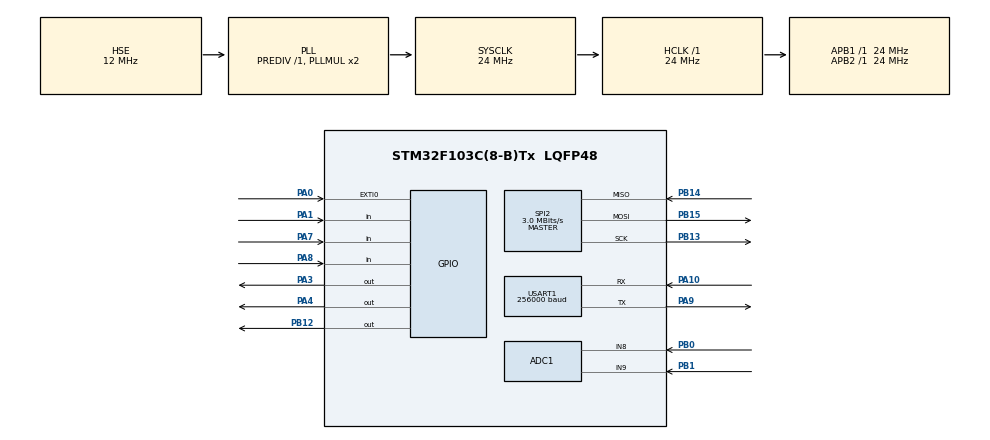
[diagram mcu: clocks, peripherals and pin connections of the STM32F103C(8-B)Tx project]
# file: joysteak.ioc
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ADC1.Channel-0\#ChannelRegularConversion=ADC_CHANNEL_8
ADC1.Channel-1\#ChannelRegularConversion=ADC_CHANNEL_9
ADC1.ContinuousConvMode=DISABLE
ADC1.NbrOfConversion=2
ADC1.NbrOfConversionFlag=1
ADC1.Rank-0\#ChannelRegularConversion=1
ADC1.Rank-1\#ChannelRegularConversion=2
ADC1.SamplingTime-0\#ChannelRegularConversion=ADC_SAMPLETIME_28CYCLES_5
ADC1.SamplingTime-1\#ChannelRegularConversion=ADC_SAMPLETIME_28CYCLES_5
ADC1.master=1
Dma.ADC1.0.Direction=DMA_PERIPH_TO_MEMORY
Dma.ADC1.0.Instance=DMA1_Channel1
Dma.ADC1.0.MemDataAlignment=DMA_MDATAALIGN_WORD
Dma.ADC1.0.MemInc=DMA_MINC_ENABLE
Dma.ADC1.0.Mode=DMA_CIRCULAR
Dma.ADC1.0.PeriphDataAlignment=DMA_PDATAALIGN_WORD
Dma.ADC1.0.PeriphInc=DMA_PINC_DISABLE
Dma.ADC1.0.Priority=DMA_PRIORITY_MEDIUM
Dma.Request0=ADC1
Mcu.Family=STM32F1
Mcu.Name=STM32F103C(8-B)Tx
Mcu.Package=LQFP48
NVIC.ADC1_2_IRQn=true\:2\:0\:true\:false\:true\:true\:true
NVIC.DMA1_Channel1_IRQn=true\:0\:0\:false\:false\:true\:false\:true
NVIC.EXTI0_IRQn=true\:1\:0\:true\:false\:true\:true\:true
NVIC.PriorityGroup=NVIC_PRIORITYGROUP_4
NVIC.SPI2_IRQn=true\:3\:0\:true\:false\:true\:true\:true
NVIC.USART1_IRQn=true\:3\:0\:true\:false\:true\:true\:true
PA0-WKUP.Signal=GPXTI0
PA1.Signal=GPIO_Input
PA10.Mode=Asynchronous
PA10.Signal=USART1_RX
PA13.Mode=Serial_Wire
PA13.Signal=SYS_JTMS-SWDIO
PA14.Mode=Serial_Wire
PA14.Signal=SYS_JTCK-SWCLK
PA3.Signal=GPIO_Output
PA4.Signal=GPIO_Output
PA7.Signal=GPIO_Input
PA8.Signal=GPIO_Input
PA9.Mode=Asynchronous
PA9.Signal=USART1_TX
PB0.Signal=ADCx_IN8
PB1.Signal=ADCx_IN9
PB12.Signal=GPIO_Output
PB13.Mode=Full_Duplex_Master
PB13.Signal=SPI2_SCK
PB14.Mode=Full_Duplex_Master
PB14.Signal=SPI2_MISO
PB15.Mode=Full_Duplex_Master
PB15.Signal=SPI2_MOSI
PD0-OSC_IN.Mode=HSE-External-Oscillator
PD0-OSC_IN.Signal=RCC_OSC_IN
PD1-OSC_OUT.Mode=HSE-External-Oscillator
PD1-OSC_OUT.Signal=RCC_OSC_OUT
ProjectManager.HeapSize=0x200
ProjectManager.StackSize=0x400
ProjectManager.TargetToolchain=MDK-ARM V5
RCC.AHBFreq_Value=24000000
RCC.APB1Freq_Value=24000000
RCC.APB1TimFreq_Value=24000000
RCC.APB2Freq_Value=24000000
RCC.APB2TimFreq_Value=24000000
RCC.HCLKFreq_Value=24000000
RCC.HSE_VALUE=12000000
RCC.PLLSourceVirtual=RCC_PLLSOURCE_HSE
RCC.SYSCLKFreq_VALUE=24000000
RCC.SYSCLKSource=RCC_SYSCLKSOURCE_PLLCLK
RCC.USBFreq_Value=24000000
SH.ADCx_IN8.0=ADC1_IN8,IN8
SH.ADCx_IN9.0=ADC1_IN9,IN9
SPI2.BaudRatePrescaler=SPI_BAUDRATEPRESCALER_8
SPI2.CalculateBaudRate=3.0 MBits/s
SPI2.Direction=SPI_DIRECTION_2LINES
SPI2.Mode=SPI_MODE_MASTER
SPI2.VirtualType=VM_MASTER
USART1.BaudRate=256000
USART1.VirtualMode=VM_ASYNC
board=custom

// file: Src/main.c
/* USER CODE BEGIN Header */
/**
  ******************************************************************************
  * @file           : main.c
  * @brief          : Main program body
  ******************************************************************************
  * @attention
  *
  * <h2><center>&copy; Copyright (c) 2019 STMicroelectronics.
  * All rights reserved.</center></h2>
  *
  * This software component is licensed by ST under BSD 3-Clause license,
  * the "License"; You may not use this file except in compliance with the
  * License. You may obtain a copy of the License at:
  *                        opensource.org/licenses/BSD-3-Clause
  *
  ******************************************************************************
  */
/* USER CODE END Header */

#include "main.h"

/* USER CODE BEGIN Includes */
#include <stdbool.h>
#include "nrf24.h"
#include "nrf24_hal.h"

/* USER CODE END Includes */

/* USER CODE BEGIN PTD */
#ifdef __GNUC__
/* With GCC/RAISONANCE, small printf (option LD Linker->Libraries->Small printf
   set to 'Yes') calls __io_putchar() */
#define PUTCHAR_PROTOTYPE int __io_putchar(int ch)
#else
#define PUTCHAR_PROTOTYPE int fputc(int ch, FILE *f)
#endif /* __GNUC__ */

uint8_t offFlag=0;
 uint8_t offFlag_2=0;
uint32_t curTime=0;

		uint16_t j=0;
uint32_t ADC_BUF[2];
uint8_t ADC_BUF_8b[10];
bool  AdcRequesStart=false;

uint8_t Ident[10]={1,0,0,0,0,0,0,0,0,0};
uint8_t cw=0;
	uint8_t monitoreFlag=0;
uint16_t count_packets=0;

uint16_t zero_point_X=0;
uint16_t zero_point_Y=0;
uint16_t data_0_200[2];

    static const uint8_t nRF24_ADDR0[] = { 0x01,0x01,0xE7, 0x1F, 0xE1};
		static const uint8_t nRF24_ADDR1[] = {  0x01,0x01,0xE7, 0x1F, 0xE2 };
		static const uint8_t nRF24_ADDR2[] = {  0x01,0x01,0xE7, 0x1F, 0xE3 };
		static const uint8_t nRF24_ADDR3[] = {  0x01,0x01,0xE7, 0x1F, 0xE4 };
		static const uint8_t nRF24_ADDR4[] = {  0x01,0x01,0xE7, 0x1F, 0xE5 };
		static const uint8_t nRF24_ADDR5[] = {  0x01,0x01,0xE7, 0x1F, 0xE6 };

#define  _MotorPwmDevider 20
#define  _MotorPwmPeriod 100
#define  _JoystickMax 4096
#define  _JoystickMin 0
#define  _JoystickZero 3020
#define  _JoystickUnderZero 2900
#define  _JoystickUpToZero 3100

/****************nrf****************/
uint8_t payload_length=10;
uint32_t i,k;
uint8_t nRF24_payload[10];
nRF24_RXResult pipe;
#define nRF24_WAIT_TIMEOUT         (uint32_t)0x000FFFFF

typedef enum {
	nRF24_TX_ERROR  = (uint8_t)0x00, // Unknown error
	nRF24_TX_SUCCESS,                // Packet has been transmitted successfully
	nRF24_TX_TIMEOUT,                // It was timeout during packet transmit
	nRF24_TX_MAXRT                   // Transmit failed with maximum auto retransmit count
} nRF24_TXResult;

nRF24_TXResult tx_res;

void JoyDataConvert(uint16_t X,uint16_t Y){

if(X<=zero_point_X-50 && X>0  ){
data_0_200[0]=(zero_point_X-X)/(zero_point_X/100)-1;
}
else if (X>zero_point_X+50){
data_0_200[0]=(X)/(zero_point_X/100);
}
else
if(!(X<=zero_point_X-50) && !(X>zero_point_X+50))
data_0_200[0]=0;
else if (X==0)
	data_0_200[0]=100;

if(Y<=zero_point_Y-50 && Y>0  ){
data_0_200[1]=(zero_point_Y-Y)/(zero_point_Y/100)-1;
}
else if (Y>zero_point_Y+50){
data_0_200[1]=(Y)/(zero_point_Y/100);
}
else
if(!(Y<=zero_point_Y-50) && !(Y>zero_point_Y+50))
data_0_200[1]=0;
else if (Y==0)
	data_0_200[1]=100;

if (data_0_200[0]>200)
data_0_200[0]=200;

if (data_0_200[1]>200)
data_0_200[1]=200;

}

nRF24_TXResult nRF24_TransmitPacket(uint8_t *pBuf, uint8_t length) {
	volatile uint32_t wait = nRF24_WAIT_TIMEOUT;
	uint8_t status;

	// Deassert the CE pin (in case if it still high)

	nRF24_CE_H();
	// Transfer a data from the specified buffer to the TX FIFO
	nRF24_WritePayload(pBuf, length);

	// Start a transmission by asserting CE pin (must be held at least 10us)

	//HAL_Delay(10);
	nRF24_CE_L();
	// Poll the transceiver status register until one of the following flags will be set:
	//   TX_DS  - means the packet has been transmitted
	//   MAX_RT - means the maximum number of TX retransmits happened
	// note: this solution is far from perfect, better to use IRQ instead of polling the status
	do {
		status = nRF24_GetStatus();
		if (status & (nRF24_FLAG_TX_DS | nRF24_FLAG_MAX_RT)) {
			break;
		}
	} while (wait--);

	// Deassert the CE pin (Standby-II --> Standby-I)
	//nRF24_CE_L();

	if (!wait) {
		// Timeout
		return nRF24_TX_TIMEOUT;
	}

	// Check the flags in STATUS register
	printf("[");
	printf("%d",status);
	printf("] ");

	// Clear pending IRQ flags
    nRF24_ClearIRQFlags();

	if (status & nRF24_FLAG_MAX_RT) {
		// Auto retransmit counter exceeds the programmed maximum limit (FIFO is not removed)
		return nRF24_TX_MAXRT;
	}

	if (status & nRF24_FLAG_TX_DS) {
		// Successful transmission
		return nRF24_TX_SUCCESS;
	}

	// Some banana happens, a payload remains in the TX FIFO, flush it
	nRF24_FlushTX();

	return nRF24_TX_ERROR;
}

/* USER CODE END PTD */

ADC_HandleTypeDef hadc1;
DMA_HandleTypeDef hdma_adc1;

SPI_HandleTypeDef hspi2;

UART_HandleTypeDef huart1;

void SystemClock_Config(void);
static void MX_GPIO_Init(void);
static void MX_DMA_Init(void);
static void MX_USART1_UART_Init(void);
static void MX_ADC1_Init(void);
static void MX_SPI2_Init(void);
/* USER CODE BEGIN PFP */
uint8_t SerialModule[4];

void HAL_ADC_ConvCpltCallback(ADC_HandleTypeDef* hadc){
uint32_t val[2];

	ADC_BUF_8b[0]=ADC_BUF[0]>>8;
	ADC_BUF_8b[1]=ADC_BUF[0];
	ADC_BUF_8b[2]=ADC_BUF[1]>>8;
	ADC_BUF_8b[3]=ADC_BUF[1];

}

PUTCHAR_PROTOTYPE
{
  /* Place your implementation of fputc here */
  /* e.g. write a character to the USART1 and Loop until the end of transmission */
  HAL_UART_Transmit(&huart1, (uint8_t *)&ch, 1, 0xFFFF);

  return ch;
}

/* USER CODE END PFP */

int main(void)
{
  /* USER CODE BEGIN 1 */

		volatile uint32_t *UniqueID = (uint32_t *)0x1FFFF7E8;
	volatile uint32_t __UniqueID[3];
	__UniqueID[0] = UniqueID[0];
	__UniqueID[1] = UniqueID[1];
	__UniqueID[2] = UniqueID[2];

	SerialModule[0]=__UniqueID[2];
	SerialModule[1]=__UniqueID[2]>>8;
	SerialModule[2]=__UniqueID[2]>>16;
	SerialModule[3]=__UniqueID[2]>>24;
	Ident[1]=SerialModule[0];
	Ident[2]=SerialModule[1];

  /* USER CODE END 1 */

  /* MCU Configuration--------------------------------------------------------*/

  /* Reset of all peripherals, Initializes the Flash interface and the Systick. */
  HAL_Init();

  /* Configure the system clock */
  SystemClock_Config();

  /* Initialize all configured peripherals */
  MX_GPIO_Init();
  MX_DMA_Init();
  MX_USART1_UART_Init();
  MX_ADC1_Init();
  MX_SPI2_Init();
  /* USER CODE BEGIN 2 */

printf("Hello");

		 HAL_NVIC_DisableIRQ(EXTI0_IRQn);
			offFlag=1;
	curTime=HAL_GetTick();
			if (__HAL_PWR_GET_FLAG(PWR_FLAG_SB) == SET)
{
printf("Wakeup");
	//HAL_PWR_EnableBkUpAccess();
__HAL_PWR_CLEAR_FLAG(PWR_FLAG_SB);
	offFlag=1;
	curTime=HAL_GetTick();

}

printf("\r\nSTM32F103RET6 is online.\r\n");

    // RX/TX disabled
    nRF24_CE_L();

		 HAL_GPIO_WritePin(GPIOA, GPIO_PIN_3, GPIO_PIN_SET);
		    // Configure the nRF24L01+
    printf("nRF24L01+ check: ");

    while (!nRF24_Check()) {
    	printf("FAIL\r\n");
			HAL_Delay(1000);
    }

	printf("OK\r\n");
		HAL_GPIO_WritePin(GPIOA, GPIO_PIN_3, GPIO_PIN_RESET);
		  // Initialize the nRF24L01 to its default state
    nRF24_Init();

		  nRF24_DisableAA(0xFF);

    // Set RF channel
    nRF24_SetRFChannel(95);

    // Set data rate
    nRF24_SetDataRate(nRF24_DR_1Mbps);

    // Set CRC scheme
    nRF24_SetCRCScheme(nRF24_CRC_2byte);

    // Set address width, its common for all pipes (RX and TX)
    nRF24_SetAddrWidth(5);

    // Set TX power (maximum)
    nRF24_SetTXPower(nRF24_TXPWR_0dBm);

		nRF24_SetAddr(nRF24_PIPETX, nRF24_ADDR1);

		nRF24_SetAddr(nRF24_PIPE0, nRF24_ADDR0); // program address for RX pipe #0
		nRF24_SetAddr(nRF24_PIPE1, nRF24_ADDR1); // program address for RX pipe #1
		nRF24_SetAddr(nRF24_PIPE2, nRF24_ADDR2); // program address for RX pipe #2
		nRF24_SetAddr(nRF24_PIPE3, nRF24_ADDR3); // program address for RX pipe #3
		nRF24_SetAddr(nRF24_PIPE4, nRF24_ADDR4); // program address for RX pipe #4
		nRF24_SetAddr(nRF24_PIPE5, nRF24_ADDR5); // program address for RX pipe #5

//nRF24_SetAutoRetr(nRF24_ARD_2500us, 10); // configure auto retransmit: 10 retransmissions with pause of 2500s in between
//nRF24_EnableAA(nRF24_PIPE1); // enable Auto-ACK for pipe#0 (for ACK packets)

nRF24_SetOperationalMode(nRF24_MODE_TX); // switch transceiver to the TX mode
  nRF24_ClearIRQFlags();
nRF24_SetPowerMode(nRF24_PWR_UP); // wake-up transceiver (in case if it sleeping)
// the nRF24 is ready for transmission, upload a payload, then pull CE pin to HIGH and it will transmit a packet...

    // The main loop
    j = 0; pipe = 0;

/****************nrf****************/
				HAL_ADC_Start_DMA(&hadc1,(uint32_t*)ADC_BUF,2);
			HAL_ADC_Start_IT(&hadc1);
			//payload_length = 6;
  /* USER CODE END 2 */

  /* Infinite loop */
  /* USER CODE BEGIN WHILE */
uint8_t m=0;
bool test=0;

zero_point_X=ADC_BUF_8b[0]*256+ADC_BUF_8b[1];
zero_point_Y=ADC_BUF_8b[2]*256+ADC_BUF_8b[3];

  /* USER CODE END 2 */

  /* Infinite loop */
  /* USER CODE BEGIN WHILE */
  while (1)
  {

		JoyDataConvert(ADC_BUF_8b[0]*256+ADC_BUF_8b[1],ADC_BUF_8b[2]*256+ADC_BUF_8b[3]);

			if(!test){
			HAL_ADC_Start_IT(&hadc1);

		Ident[4]=data_0_200[0]>>8;
		Ident[5]=data_0_200[0];
		Ident[6]=data_0_200[1]>>8;
		Ident[7]=data_0_200[1];
		Ident[8]=0;

		if(HAL_GPIO_ReadPin(GPIOA,GPIO_PIN_1)==GPIO_PIN_SET)
		{
			Ident[9]=1;
		}
		else
			Ident[9]=0;

    	// Transmit a packet
    	tx_res = nRF24_TransmitPacket(Ident, payload_length);

	}
	else{

		Ident[3]=4;
		Ident[8]=count_packets>>8;
		Ident[9]=count_packets;

    	// Transmit a packet
    	tx_res = nRF24_TransmitPacket(Ident, payload_length);

	count_packets++;
	}

    	//HAL_Delay(2000);

    /* USER CODE END WHILE */

  }
}

void SystemClock_Config(void)
{
  RCC_OscInitTypeDef RCC_OscInitStruct = {0};
  RCC_ClkInitTypeDef RCC_ClkInitStruct = {0};
  RCC_PeriphCLKInitTypeDef PeriphClkInit = {0};

  /** Initializes the CPU, AHB and APB busses clocks
  */
  RCC_OscInitStruct.OscillatorType = RCC_OSCILLATORTYPE_HSE;
  RCC_OscInitStruct.HSEState = RCC_HSE_ON;
  RCC_OscInitStruct.HSEPredivValue = RCC_HSE_PREDIV_DIV1;
  RCC_OscInitStruct.HSIState = RCC_HSI_ON;
  RCC_OscInitStruct.PLL.PLLState = RCC_PLL_ON;
  RCC_OscInitStruct.PLL.PLLSource = RCC_PLLSOURCE_HSE;
  RCC_OscInitStruct.PLL.PLLMUL = RCC_PLL_MUL2;
  if (HAL_RCC_OscConfig(&RCC_OscInitStruct) != HAL_OK)
  {
    Error_Handler();
  }
  /** Initializes the CPU, AHB and APB busses clocks
  */
  RCC_ClkInitStruct.ClockType = RCC_CLOCKTYPE_HCLK|RCC_CLOCKTYPE_SYSCLK
                              |RCC_CLOCKTYPE_PCLK1|RCC_CLOCKTYPE_PCLK2;
  RCC_ClkInitStruct.SYSCLKSource = RCC_SYSCLKSOURCE_PLLCLK;
  RCC_ClkInitStruct.AHBCLKDivider = RCC_SYSCLK_DIV1;
  RCC_ClkInitStruct.APB1CLKDivider = RCC_HCLK_DIV1;
  RCC_ClkInitStruct.APB2CLKDivider = RCC_HCLK_DIV1;

  if (HAL_RCC_ClockConfig(&RCC_ClkInitStruct, FLASH_LATENCY_0) != HAL_OK)
  {
    Error_Handler();
  }
  PeriphClkInit.PeriphClockSelection = RCC_PERIPHCLK_ADC;
  PeriphClkInit.AdcClockSelection = RCC_ADCPCLK2_DIV2;
  if (HAL_RCCEx_PeriphCLKConfig(&PeriphClkInit) != HAL_OK)
  {
    Error_Handler();
  }
}

static void MX_ADC1_Init(void)
{

  ADC_ChannelConfTypeDef sConfig = {0};

  /** Common config
  */
  hadc1.Instance = ADC1;
  hadc1.Init.ScanConvMode = ADC_SCAN_ENABLE;
  hadc1.Init.ContinuousConvMode = DISABLE;
  hadc1.Init.DiscontinuousConvMode = DISABLE;
  hadc1.Init.ExternalTrigConv = ADC_SOFTWARE_START;
  hadc1.Init.DataAlign = ADC_DATAALIGN_RIGHT;
  hadc1.Init.NbrOfConversion = 2;
  if (HAL_ADC_Init(&hadc1) != HAL_OK)
  {
    Error_Handler();
  }
  /** Configure Regular Channel
  */
  sConfig.Channel = ADC_CHANNEL_8;
  sConfig.Rank = ADC_REGULAR_RANK_1;
  sConfig.SamplingTime = ADC_SAMPLETIME_28CYCLES_5;
  if (HAL_ADC_ConfigChannel(&hadc1, &sConfig) != HAL_OK)
  {
    Error_Handler();
  }
  /** Configure Regular Channel
  */
  sConfig.Channel = ADC_CHANNEL_9;
  sConfig.Rank = ADC_REGULAR_RANK_2;
  if (HAL_ADC_ConfigChannel(&hadc1, &sConfig) != HAL_OK)
  {
    Error_Handler();
  }

}

static void MX_SPI2_Init(void)
{

  /* SPI2 parameter configuration*/
  hspi2.Instance = SPI2;
  hspi2.Init.Mode = SPI_MODE_MASTER;
  hspi2.Init.Direction = SPI_DIRECTION_2LINES;
  hspi2.Init.DataSize = SPI_DATASIZE_8BIT;
  hspi2.Init.CLKPolarity = SPI_POLARITY_LOW;
  hspi2.Init.CLKPhase = SPI_PHASE_1EDGE;
  hspi2.Init.NSS = SPI_NSS_SOFT;
  hspi2.Init.BaudRatePrescaler = SPI_BAUDRATEPRESCALER_8;
  hspi2.Init.FirstBit = SPI_FIRSTBIT_MSB;
  hspi2.Init.TIMode = SPI_TIMODE_DISABLE;
  hspi2.Init.CRCCalculation = SPI_CRCCALCULATION_DISABLE;
  hspi2.Init.CRCPolynomial = 10;
  if (HAL_SPI_Init(&hspi2) != HAL_OK)
  {
    Error_Handler();
  }

}

static void MX_USART1_UART_Init(void)
{

  huart1.Instance = USART1;
  huart1.Init.BaudRate = 256000;
  huart1.Init.WordLength = UART_WORDLENGTH_8B;
  huart1.Init.StopBits = UART_STOPBITS_1;
  huart1.Init.Parity = UART_PARITY_NONE;
  huart1.Init.Mode = UART_MODE_TX_RX;
  huart1.Init.HwFlowCtl = UART_HWCONTROL_NONE;
  huart1.Init.OverSampling = UART_OVERSAMPLING_16;
  if (HAL_UART_Init(&huart1) != HAL_OK)
  {
    Error_Handler();
  }

}

static void MX_DMA_Init(void)
{
  /* DMA controller clock enable */
  __HAL_RCC_DMA1_CLK_ENABLE();

  /* DMA interrupt init */
  /* DMA1_Channel1_IRQn interrupt configuration */
  HAL_NVIC_SetPriority(DMA1_Channel1_IRQn, 0, 0);
  HAL_NVIC_EnableIRQ(DMA1_Channel1_IRQn);

}

static void MX_GPIO_Init(void)
{
  GPIO_InitTypeDef GPIO_InitStruct = {0};

  /* GPIO Ports Clock Enable */
  __HAL_RCC_GPIOD_CLK_ENABLE();
  __HAL_RCC_GPIOA_CLK_ENABLE();
  __HAL_RCC_GPIOB_CLK_ENABLE();

  /*Configure GPIO pin Output Level */
  HAL_GPIO_WritePin(GPIOA, GPIO_PIN_3|GPIO_PIN_4, GPIO_PIN_RESET);

  /*Configure GPIO pin Output Level */
  HAL_GPIO_WritePin(GPIOB, GPIO_PIN_12, GPIO_PIN_RESET);

  /*Configure GPIO pin : PA0 */
  GPIO_InitStruct.Pin = GPIO_PIN_0;
  GPIO_InitStruct.Mode = GPIO_MODE_IT_RISING;
  GPIO_InitStruct.Pull = GPIO_NOPULL;
  HAL_GPIO_Init(GPIOA, &GPIO_InitStruct);

  /*Configure GPIO pins : PA1 PA7 PA8 */
  GPIO_InitStruct.Pin = GPIO_PIN_1|GPIO_PIN_7|GPIO_PIN_8;
  GPIO_InitStruct.Mode = GPIO_MODE_INPUT;
  GPIO_InitStruct.Pull = GPIO_NOPULL;
  HAL_GPIO_Init(GPIOA, &GPIO_InitStruct);

  /*Configure GPIO pins : PA3 PA4 */
  GPIO_InitStruct.Pin = GPIO_PIN_3|GPIO_PIN_4;
  GPIO_InitStruct.Mode = GPIO_MODE_OUTPUT_PP;
  GPIO_InitStruct.Pull = GPIO_NOPULL;
  GPIO_InitStruct.Speed = GPIO_SPEED_FREQ_LOW;
  HAL_GPIO_Init(GPIOA, &GPIO_InitStruct);

  /*Configure GPIO pin : PB12 */
  GPIO_InitStruct.Pin = GPIO_PIN_12;
  GPIO_InitStruct.Mode = GPIO_MODE_OUTPUT_PP;
  GPIO_InitStruct.Pull = GPIO_NOPULL;
  GPIO_InitStruct.Speed = GPIO_SPEED_FREQ_LOW;
  HAL_GPIO_Init(GPIOB, &GPIO_InitStruct);

  /* EXTI interrupt init*/
  HAL_NVIC_SetPriority(EXTI0_IRQn, 1, 0);
  HAL_NVIC_EnableIRQ(EXTI0_IRQn);

}

void Error_Handler(void)
{
}

/************************ (C) COPYRIGHT STMicroelectronics *****END OF FILE****/
